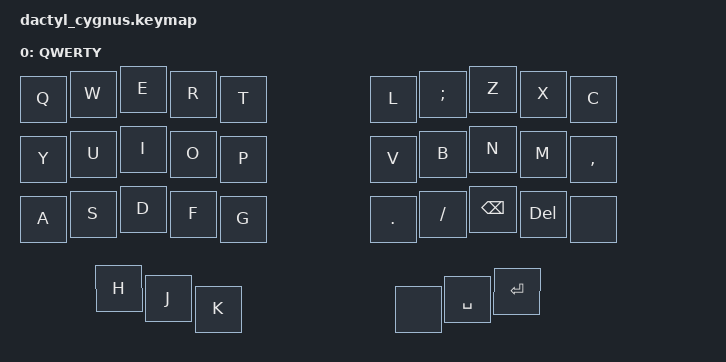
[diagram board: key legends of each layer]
#include <behaviors.dtsi>
#include <dt-bindings/zmk/keys.h>
#include <dt-bindings/zmk/bt.h>

/ {
    keymap {
        compatible = "zmk,keymap";

        qwerty_layer {
            display-name = "QWERTY";
            bindings = <
                &kp Q &kp W &kp E &kp R &kp T &kp Y &kp U &kp I &kp O &kp P
                &kp A &kp S &kp D &kp F &kp G &kp H &kp J &kp K &kp L &kp SEMICOLON
                &kp Z &kp X &kp C &kp V &kp B &kp N &kp M &kp COMMA &kp DOT &kp SLASH
                &kp BACKSPACE  &kp DELETE &none &none &kp SPACE &kp ENTER
            >;
        };
    };
};
